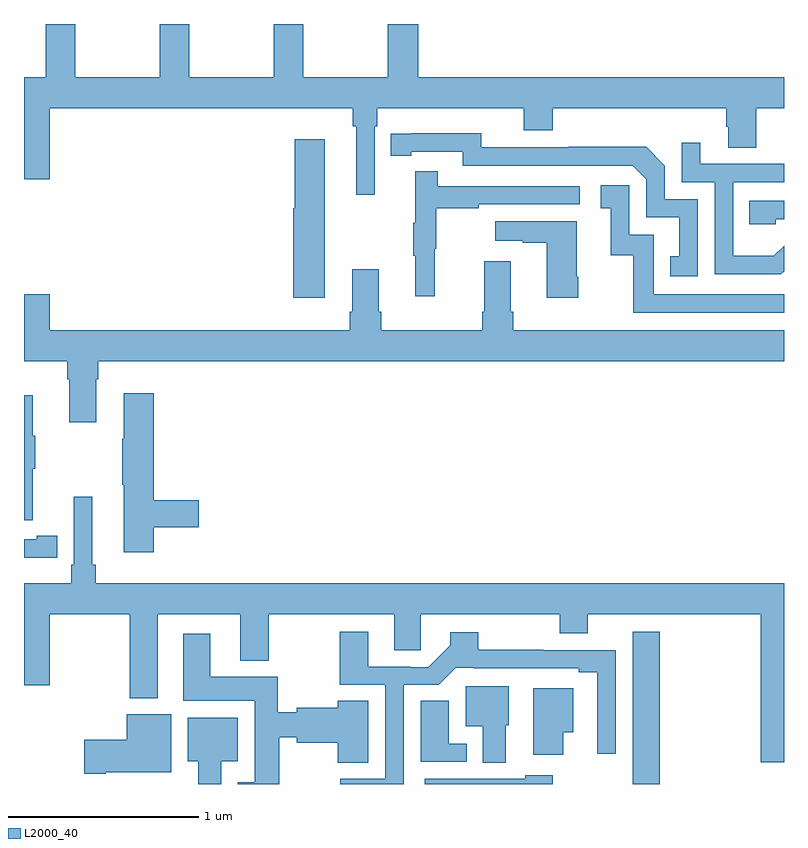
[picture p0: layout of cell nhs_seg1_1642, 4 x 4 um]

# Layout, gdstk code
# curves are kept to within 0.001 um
import gdstk
lib = gdstk.Library(unit=1e-6, precision=1e-09)
def R(c, l, rs):  # rectangles x0, y0, x1, y1
    for r in rs: c.add(gdstk.rectangle(r[:2], r[2:], *l))
def P(c, l, *ps):  # polygons
    for p in ps: c.add(gdstk.Polygon(p, *l))
L2000_40 = (2000, 40)

nhs_seg1_1642 = lib.new_cell('nhs_seg1_1642')
R(nhs_seg1_1642, L2000_40, [(204.203,524.199,204.347,525.001)])
P(nhs_seg1_1642, L2000_40, [(203.075,528.199),(202.915,528.199),(202.915,527.92),(202.47,527.92),(202.47,528.199),(202.315,528.199),(202.315,527.92),(201.87,527.92),(201.87,528.199),(201.715,528.199),(201.715,527.92),(201.27,527.92),(201.27,528.199),(201.115,528.199),(201.115,527.92),(201,527.92),(201,527.382),(201.136,527.382),(201.136,527.756),(202.729,527.756),(202.729,527.66),(202.748,527.66),(202.748,527.301),(202.845,527.301),(202.845,527.66),(202.859,527.66),(202.859,527.756),(203.63,527.756),(203.63,527.639),(203.783,527.639),(203.783,527.756),(204.695,527.756),(204.695,527.658),(204.707,527.658),(204.707,527.548),(204.855,527.548),(204.855,527.756),(205,527.756),(205,527.92),(203.075,527.92)],
  [(204.546,527.277),(204.372,527.277),(204.372,527.454),(204.274,527.552),(203.866,527.552),(203.866,527.55),(203.406,527.55),(203.406,527.623),(202.93,527.622),(202.93,527.506),(203.038,527.506),(203.038,527.526),(203.31,527.526),(203.31,527.454),(204.204,527.454),(204.276,527.382),(204.276,527.181),(204.449,527.181),(204.449,526.977),(204.4,526.977),(204.4,526.872),(204.546,526.872)],
  [(202.582,527.593),(202.424,527.593),(202.424,527.229),(202.418,527.229),(202.418,526.758),(202.582,526.758)],
  [(205,526.899),(205,527.032),(204.946,526.978),(204.732,526.978),(204.732,527.367),(205,527.367),(205,527.463),(204.559,527.463),(204.559,527.575),(204.462,527.575),(204.462,527.367),(204.636,527.367),(204.636,526.881),(204.982,526.881)],
  [(203.162,527.016),(203.17,527.016),(203.17,527.23),(203.393,527.23),(203.393,527.25),(203.926,527.25),(203.926,527.346),(203.177,527.346),(203.177,527.425),(203.06,527.425),(203.06,527.153),(203.049,527.153),(203.049,526.979),(203.06,526.979),(203.06,526.767),(203.162,526.767)],
  [(205,526.776),(204.315,526.776),(204.315,527.091),(204.186,527.091),(204.186,527.35),(204.036,527.35),(204.036,527.229),(204.089,527.229),(204.089,526.983),(204.207,526.983),(204.207,526.68),(205,526.68)],
  [(204.957,527.172),(205,527.172),(205,527.268),(204.817,527.268),(204.817,527.145),(204.957,527.145)],
  [(203.916,526.87),(203.908,526.87),(203.908,527.161),(203.481,527.161),(203.481,527.057),(203.624,527.057),(203.624,527.047),(203.75,527.047),(203.75,526.758),(203.916,526.758)],
  [(201.379,526.328),(201.392,526.328),(201.392,526.424),(205,526.424),(205,526.588),(203.576,526.588),(203.576,526.684),(203.563,526.684),(203.563,526.951),(203.423,526.951),(203.423,526.684),(203.411,526.684),(203.411,526.588),(202.88,526.588),(202.88,526.684),(202.867,526.684),(202.867,526.909),(202.727,526.909),(202.727,526.684),(202.715,526.684),(202.715,526.588),(201.136,526.588),(201.136,526.777),(201,526.777),(201,526.424),(201.227,526.424),(201.227,526.328),(201.239,526.328),(201.239,526.104),(201.379,526.104)],
  [(201.683,525.55),(201.919,525.55),(201.919,525.692),(201.683,525.692),(201.683,526.255),(201.524,526.255),(201.524,526.016),(201.517,526.016),(201.517,525.775),(201.524,525.775),(201.524,525.42),(201.683,525.42)],
  [(201.047,525.859),(201.058,525.859),(201.058,526.033),(201.047,526.033),(201.047,526.246),(201,526.246),(201,525.588),(201.047,525.588)],
  [(201.068,525.39),(201.176,525.39),(201.176,525.506),(201.068,525.506),(201.068,525.486),(201,525.486),(201,525.389),(201.068,525.389)],
  [(201.377,525.352),(201.358,525.352),(201.358,525.712),(201.261,525.712),(201.261,525.352),(201.248,525.352),(201.248,525.256),(201,525.256),(201,524.718),(201.136,524.718),(201.136,525.092),(201.556,525.092),(201.556,524.651),(201.703,524.651),(201.703,525.092),(202.139,525.092),(202.139,524.849),(202.287,524.849),(202.287,525.092),(202.949,525.092),(202.949,524.902),(203.088,524.902),(203.088,525.092),(203.821,525.092),(203.821,524.993),(203.968,524.993),(203.968,525.092),(204.878,525.092),(204.878,524.313),(205,524.313),(205,525.256),(201.377,525.256)],
  [(202.998,524.721),(203.182,524.721),(203.272,524.811),(203.368,524.811),(203.368,524.808),(203.921,524.808),(203.921,524.788),(204.018,524.788),(204.018,524.358),(204.114,524.358),(204.114,524.904),(203.732,524.904),(203.732,524.906),(203.391,524.906),(203.391,524.998),(203.243,524.998),(203.243,524.93),(203.127,524.814),(203.033,524.814),(203.033,524.817),(202.813,524.817),(202.813,525.001),(202.663,525.001),(202.663,524.721),(202.902,524.721),(202.902,524.226),(202.665,524.226),(202.665,524.199),(202.998,524.199)],
  [(202.344,524.444),(202.436,524.444),(202.436,524.417),(202.652,524.417),(202.652,524.311),(202.813,524.311),(202.813,524.636),(202.652,524.636),(202.652,524.6),(202.436,524.6),(202.436,524.576),(202.336,524.576),(202.336,524.764),(201.979,524.764),(201.979,524.989),(201.839,524.989),(201.839,524.636),(202.214,524.636),(202.214,524.209),(202.124,524.209),(202.124,524.199),(202.344,524.199)],
  [(203.536,524.508),(203.551,524.508),(203.551,524.713),(203.324,524.713),(203.324,524.504),(203.414,524.504),(203.414,524.312),(203.536,524.312)],
  [(203.839,524.471),(203.89,524.471),(203.89,524.704),(203.681,524.704),(203.681,524.352),(203.839,524.352)],
  [(203.329,524.412),(203.236,524.412),(203.236,524.636),(203.087,524.636),(203.087,524.316),(203.329,524.316)],
  [(201.43,524.261),(201.775,524.261),(201.775,524.566),(201.542,524.566),(201.542,524.432),(201.318,524.432),(201.318,524.254),(201.43,524.254)],
  [(202.039,524.318),(202.126,524.318),(202.126,524.548),(201.863,524.548),(201.863,524.318),(201.917,524.318),(201.917,524.199),(202.039,524.199)],
  [(203.782,524.245),(203.637,524.245),(203.637,524.227),(203.109,524.227),(203.109,524.199),(203.782,524.199)])

lib.write_gds('nhs_seg1_1642.gds')
